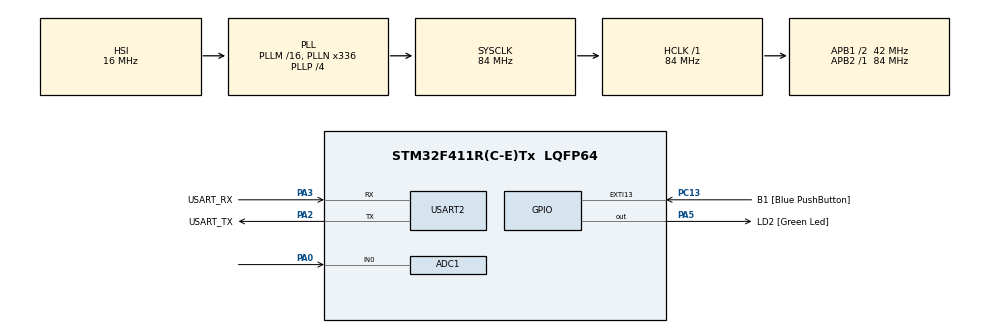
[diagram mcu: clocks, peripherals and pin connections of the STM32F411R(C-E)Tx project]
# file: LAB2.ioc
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ADC1.Channel-0\#ChannelRegularConversion=ADC_CHANNEL_0
ADC1.Channel-1\#ChannelRegularConversion=ADC_CHANNEL_TEMPSENSOR
ADC1.ContinuousConvMode=ENABLE
ADC1.DMAContinuousRequests=ENABLE
ADC1.NbrOfConversion=2
ADC1.NbrOfConversionFlag=1
ADC1.Rank-0\#ChannelRegularConversion=1
ADC1.Rank-1\#ChannelRegularConversion=2
ADC1.SamplingTime-0\#ChannelRegularConversion=ADC_SAMPLETIME_56CYCLES
ADC1.SamplingTime-1\#ChannelRegularConversion=ADC_SAMPLETIME_56CYCLES
ADC1.master=1
Dma.ADC1.0.Direction=DMA_PERIPH_TO_MEMORY
Dma.ADC1.0.FIFOMode=DMA_FIFOMODE_DISABLE
Dma.ADC1.0.Instance=DMA2_Stream0
Dma.ADC1.0.MemDataAlignment=DMA_MDATAALIGN_HALFWORD
Dma.ADC1.0.MemInc=DMA_MINC_ENABLE
Dma.ADC1.0.Mode=DMA_CIRCULAR
Dma.ADC1.0.PeriphDataAlignment=DMA_PDATAALIGN_HALFWORD
Dma.ADC1.0.PeriphInc=DMA_PINC_DISABLE
Dma.ADC1.0.Priority=DMA_PRIORITY_LOW
Dma.Request0=ADC1
Mcu.Family=STM32F4
Mcu.Name=STM32F411R(C-E)Tx
Mcu.Package=LQFP64
NVIC.ADC_IRQn=true\:0\:0\:false\:false\:true\:true\:true\:true
NVIC.DMA2_Stream0_IRQn=true\:0\:0\:false\:false\:true\:false\:true\:true
NVIC.PriorityGroup=NVIC_PRIORITYGROUP_0
PA0-WKUP.Signal=ADCx_IN0
PA13.GPIO_Label=TMS
PA13.Mode=Serial_Wire
PA13.Signal=SYS_JTMS-SWDIO
PA14.GPIO_Label=TCK
PA14.Mode=Serial_Wire
PA14.Signal=SYS_JTCK-SWCLK
PA2.GPIO_Label=USART_TX
PA2.Mode=Asynchronous
PA2.Signal=USART2_TX
PA3.GPIO_Label=USART_RX
PA3.Mode=Asynchronous
PA3.Signal=USART2_RX
PA5.GPIO_Label=LD2 [Green Led]
PA5.Signal=GPIO_Output
PB3.GPIO_Label=SWO
PB3.Signal=SYS_JTDO-SWO
PC13-ANTI_TAMP.GPIO_Label=B1 [Blue PushButton]
PC13-ANTI_TAMP.GPIO_ModeDefaultEXTI=GPIO_MODE_IT_FALLING
PC13-ANTI_TAMP.Signal=GPXTI13
PC14-OSC32_IN.Mode=LSE-External-Oscillator
PC14-OSC32_IN.Signal=RCC_OSC32_IN
PC15-OSC32_OUT.Mode=LSE-External-Oscillator
PC15-OSC32_OUT.Signal=RCC_OSC32_OUT
PH0\ -\ OSC_IN.Mode=HSE-External-Clock-Source
PH0\ -\ OSC_IN.Signal=RCC_OSC_IN
PH1\ -\ OSC_OUT.Mode=HSE-External-Clock-Source
PH1\ -\ OSC_OUT.Signal=RCC_OSC_OUT
ProjectManager.HeapSize=0x200
ProjectManager.StackSize=0x400
ProjectManager.TargetToolchain=STM32CubeIDE
RCC.48MHZClocksFreq_Value=84000000
RCC.AHBFreq_Value=84000000
RCC.APB1CLKDivider=RCC_HCLK_DIV2
RCC.APB1Freq_Value=42000000
RCC.APB1TimFreq_Value=84000000
RCC.APB2Freq_Value=84000000
RCC.APB2TimFreq_Value=84000000
RCC.CortexFreq_Value=84000000
RCC.FLatency-AdvancedSettings=FLASH_LATENCY_2
RCC.HCLKFreq_Value=84000000
RCC.HSE_VALUE=8000000
RCC.HSI_VALUE=16000000
RCC.PLLN=336
RCC.PLLP=RCC_PLLP_DIV4
RCC.SYSCLKFreq_VALUE=84000000
RCC.SYSCLKSource=RCC_SYSCLKSOURCE_PLLCLK
RCC.VCOOutputFreq_Value=336000000
SH.ADCx_IN0.0=ADC1_IN0,IN0
USART2.VirtualMode=VM_ASYNC
VP_ADC1_TempSens_Input.Mode=IN-TempSens
board=NUCLEO-F411RE

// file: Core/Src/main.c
/* USER CODE BEGIN Header */
/**
  ******************************************************************************
  * @file           : main.c
  * @brief          : Main program body
  ******************************************************************************
  * @attention
  *
  * Copyright (c) 2023 STMicroelectronics.
  * All rights reserved.
  *
  * This software is licensed under terms that can be found in the LICENSE file
  * in the root directory of this software component.
  * If no LICENSE file comes with this software, it is provided AS-IS.
  *
  ******************************************************************************
  */
/* USER CODE END Header */
#include "main.h"

ADC_HandleTypeDef hadc1;
DMA_HandleTypeDef hdma_adc1;

UART_HandleTypeDef huart2;

/* USER CODE BEGIN PV */
uint16_t average_volt;
uint16_t average_temp;
uint32_t total_temp;
uint32_t total_volt;
float real_temp;
float real_volt;
typedef struct Data
{
	uint16_t volt;
	uint16_t temp;
}data;
data buffer[10];

/* USER CODE END PV */

void SystemClock_Config(void);
static void MX_GPIO_Init(void);
static void MX_DMA_Init(void);
static void MX_USART2_UART_Init(void);
static void MX_ADC1_Init(void);

int main(void)
{

  /* MCU Configuration--------------------------------------------------------*/

  /* Reset of all peripherals, Initializes the Flash interface and the Systick. */
  HAL_Init();

  /* Configure the system clock */
  SystemClock_Config();

  /* Initialize all configured peripherals */
  MX_GPIO_Init();
  MX_DMA_Init();
  MX_USART2_UART_Init();
  MX_ADC1_Init();
  /* USER CODE BEGIN 2 */
  HAL_ADC_Start_DMA(&hadc1,(uint32_t*)buffer,100);
  /* USER CODE END 2 */

  /* Infinite loop */
  while (1)
  {

    /* USER CODE BEGIN 3 */
	  for(uint16_t i = 0;i<10;i++){
		  if(i==0){
			  total_temp = 0;
			  total_volt = 0;
			  total_volt = total_volt+buffer[i].volt;
			  total_temp = total_temp+buffer[i].temp;
		  }
		  else if(i==9){
			  total_temp = total_temp + buffer[i].temp;
			  total_volt = total_volt + buffer[i].volt;
			  average_temp = total_temp / 10 ;
			  average_volt = total_volt / 10 ;
			  real_volt = (((5.0/2936)*1)*average_volt)*1000 ;
			  real_temp = (((22.0/940)*1)*average_temp)+273;
		  }
		  else
		  {
			  total_volt = total_volt + buffer[i].volt;
			  total_temp = total_temp + buffer[i].temp;
		  }
	  }
	  HAL_Delay(1000);
  }
  /* USER CODE END 3 */
}

void SystemClock_Config(void)
{
  RCC_OscInitTypeDef RCC_OscInitStruct = {0};
  RCC_ClkInitTypeDef RCC_ClkInitStruct = {0};

  /** Configure the main internal regulator output voltage
  */
  __HAL_RCC_PWR_CLK_ENABLE();
  __HAL_PWR_VOLTAGESCALING_CONFIG(PWR_REGULATOR_VOLTAGE_SCALE1);

  /** Initializes the RCC Oscillators according to the specified parameters
  * in the RCC_OscInitTypeDef structure.
  */
  RCC_OscInitStruct.OscillatorType = RCC_OSCILLATORTYPE_HSI;
  RCC_OscInitStruct.HSIState = RCC_HSI_ON;
  RCC_OscInitStruct.HSICalibrationValue = RCC_HSICALIBRATION_DEFAULT;
  RCC_OscInitStruct.PLL.PLLState = RCC_PLL_ON;
  RCC_OscInitStruct.PLL.PLLSource = RCC_PLLSOURCE_HSI;
  RCC_OscInitStruct.PLL.PLLM = 16;
  RCC_OscInitStruct.PLL.PLLN = 336;
  RCC_OscInitStruct.PLL.PLLP = RCC_PLLP_DIV4;
  RCC_OscInitStruct.PLL.PLLQ = 4;
  if (HAL_RCC_OscConfig(&RCC_OscInitStruct) != HAL_OK)
  {
    Error_Handler();
  }

  /** Initializes the CPU, AHB and APB buses clocks
  */
  RCC_ClkInitStruct.ClockType = RCC_CLOCKTYPE_HCLK|RCC_CLOCKTYPE_SYSCLK
                              |RCC_CLOCKTYPE_PCLK1|RCC_CLOCKTYPE_PCLK2;
  RCC_ClkInitStruct.SYSCLKSource = RCC_SYSCLKSOURCE_PLLCLK;
  RCC_ClkInitStruct.AHBCLKDivider = RCC_SYSCLK_DIV1;
  RCC_ClkInitStruct.APB1CLKDivider = RCC_HCLK_DIV2;
  RCC_ClkInitStruct.APB2CLKDivider = RCC_HCLK_DIV1;

  if (HAL_RCC_ClockConfig(&RCC_ClkInitStruct, FLASH_LATENCY_2) != HAL_OK)
  {
    Error_Handler();
  }
}

static void MX_ADC1_Init(void)
{

  ADC_ChannelConfTypeDef sConfig = {0};

  /** Configure the global features of the ADC (Clock, Resolution, Data Alignment and number of conversion)
  */
  hadc1.Instance = ADC1;
  hadc1.Init.ClockPrescaler = ADC_CLOCK_SYNC_PCLK_DIV4;
  hadc1.Init.Resolution = ADC_RESOLUTION_12B;
  hadc1.Init.ScanConvMode = ENABLE;
  hadc1.Init.ContinuousConvMode = ENABLE;
  hadc1.Init.DiscontinuousConvMode = DISABLE;
  hadc1.Init.ExternalTrigConvEdge = ADC_EXTERNALTRIGCONVEDGE_NONE;
  hadc1.Init.ExternalTrigConv = ADC_SOFTWARE_START;
  hadc1.Init.DataAlign = ADC_DATAALIGN_RIGHT;
  hadc1.Init.NbrOfConversion = 2;
  hadc1.Init.DMAContinuousRequests = ENABLE;
  hadc1.Init.EOCSelection = ADC_EOC_SINGLE_CONV;
  if (HAL_ADC_Init(&hadc1) != HAL_OK)
  {
    Error_Handler();
  }

  /** Configure for the selected ADC regular channel its corresponding rank in the sequencer and its sample time.
  */
  sConfig.Channel = ADC_CHANNEL_0;
  sConfig.Rank = 1;
  sConfig.SamplingTime = ADC_SAMPLETIME_56CYCLES;
  if (HAL_ADC_ConfigChannel(&hadc1, &sConfig) != HAL_OK)
  {
    Error_Handler();
  }

  /** Configure for the selected ADC regular channel its corresponding rank in the sequencer and its sample time.
  */
  sConfig.Channel = ADC_CHANNEL_TEMPSENSOR;
  sConfig.Rank = 2;
  if (HAL_ADC_ConfigChannel(&hadc1, &sConfig) != HAL_OK)
  {
    Error_Handler();
  }

}

static void MX_USART2_UART_Init(void)
{

  huart2.Instance = USART2;
  huart2.Init.BaudRate = 115200;
  huart2.Init.WordLength = UART_WORDLENGTH_8B;
  huart2.Init.StopBits = UART_STOPBITS_1;
  huart2.Init.Parity = UART_PARITY_NONE;
  huart2.Init.Mode = UART_MODE_TX_RX;
  huart2.Init.HwFlowCtl = UART_HWCONTROL_NONE;
  huart2.Init.OverSampling = UART_OVERSAMPLING_16;
  if (HAL_UART_Init(&huart2) != HAL_OK)
  {
    Error_Handler();
  }

}

static void MX_DMA_Init(void)
{

  /* DMA controller clock enable */
  __HAL_RCC_DMA2_CLK_ENABLE();

  /* DMA interrupt init */
  /* DMA2_Stream0_IRQn interrupt configuration */
  HAL_NVIC_SetPriority(DMA2_Stream0_IRQn, 0, 0);
  HAL_NVIC_EnableIRQ(DMA2_Stream0_IRQn);

}

static void MX_GPIO_Init(void)
{
  GPIO_InitTypeDef GPIO_InitStruct = {0};

  /* GPIO Ports Clock Enable */
  __HAL_RCC_GPIOC_CLK_ENABLE();
  __HAL_RCC_GPIOH_CLK_ENABLE();
  __HAL_RCC_GPIOA_CLK_ENABLE();
  __HAL_RCC_GPIOB_CLK_ENABLE();

  /*Configure GPIO pin Output Level */
  HAL_GPIO_WritePin(LD2_GPIO_Port, LD2_Pin, GPIO_PIN_RESET);

  /*Configure GPIO pin : B1_Pin */
  GPIO_InitStruct.Pin = B1_Pin;
  GPIO_InitStruct.Mode = GPIO_MODE_IT_FALLING;
  GPIO_InitStruct.Pull = GPIO_NOPULL;
  HAL_GPIO_Init(B1_GPIO_Port, &GPIO_InitStruct);

  /*Configure GPIO pin : LD2_Pin */
  GPIO_InitStruct.Pin = LD2_Pin;
  GPIO_InitStruct.Mode = GPIO_MODE_OUTPUT_PP;
  GPIO_InitStruct.Pull = GPIO_NOPULL;
  GPIO_InitStruct.Speed = GPIO_SPEED_FREQ_LOW;
  HAL_GPIO_Init(LD2_GPIO_Port, &GPIO_InitStruct);

}

/* USER CODE BEGIN 4 */
void HAL_GPIO_EXTI_Callback(uint16_t GPIO_PIN)
{
	HAL_ADC_Start_DMA(&hadc1, (uint32_t*)buffer, 20);
}
void HAL_ADC_ConvCpltCallback(ADC_HandleTypeDef* hadc)
{
}
/* USER CODE END 4 */

void Error_Handler(void)
{
  __disable_irq();
  while (1)
  {
  }
}
